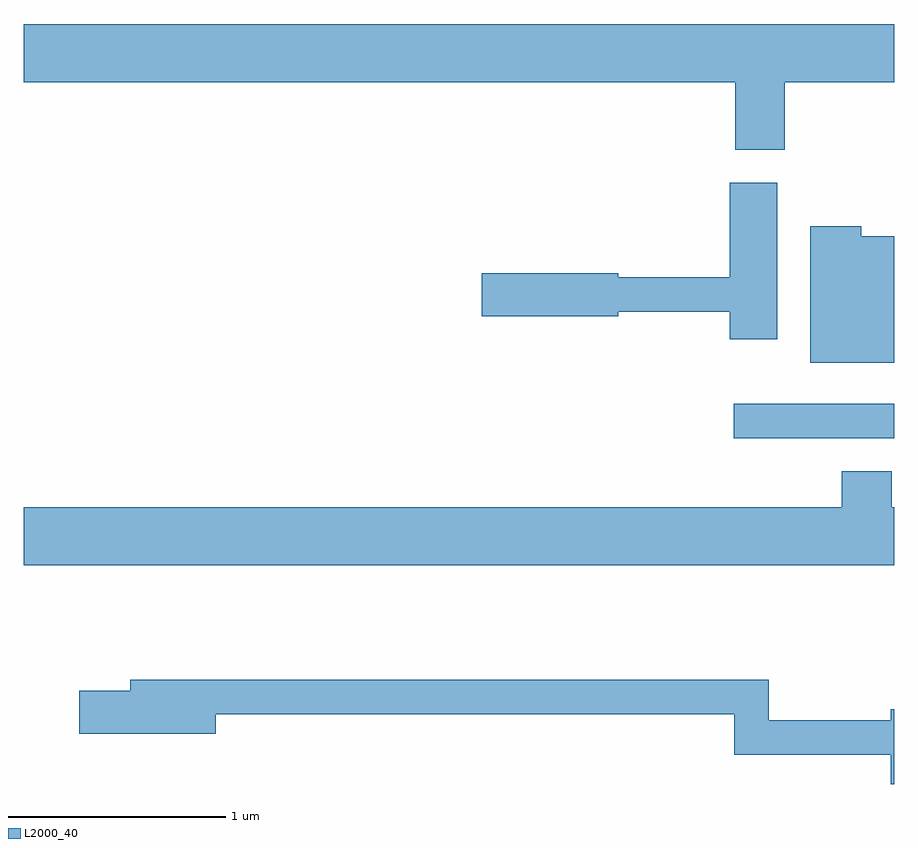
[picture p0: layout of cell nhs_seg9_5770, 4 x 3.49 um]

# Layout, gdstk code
import gdstk
lib = gdstk.Library(unit=1e-6, precision=1e-09)
def R(c, l, rs):  # rectangles x0, y0, x1, y1
    for r in rs: c.add(gdstk.rectangle(r[:2], r[2:], *l))
def P(c, l, *ps):  # polygons
    for p in ps: c.add(gdstk.Polygon(p, *l))
L2000_40 = (2000, 40)

nhs_seg9_5770 = lib.new_cell('nhs_seg9_5770')
R(nhs_seg9_5770, L2000_40, [(358.873,1992.401,359.611,1992.559)])
P(nhs_seg9_5770, L2000_40, [(359.109,1994.036),(359.611,1994.036),(359.611,1994.304),(355.611,1994.304),(355.611,1994.036),(358.881,1994.036),(358.881,1993.726),(359.109,1993.726)],
  [(359.074,1993.574),(358.856,1993.574),(358.856,1993.139),(358.344,1993.139),(358.344,1993.159),(357.716,1993.159),(357.716,1992.961),(358.344,1992.961),(358.344,1992.981),(358.856,1992.981),(358.856,1992.856),(359.074,1992.856)],
  [(359.611,1993.329),(359.459,1993.329),(359.459,1993.374),(359.226,1993.374),(359.226,1992.746),(359.611,1992.746)],
  [(359.611,1992.084),(359.599,1992.084),(359.599,1992.249),(359.371,1992.249),(359.371,1992.084),(355.611,1992.084),(355.611,1991.816),(359.611,1991.816)],
  [(359.611,1991.154),(359.596,1991.154),(359.596,1991.104),(359.034,1991.104),(359.034,1991.289),(356.101,1991.289),(356.101,1991.239),(355.866,1991.239),(355.866,1991.041),(356.494,1991.041),(356.494,1991.131),(358.876,1991.131),(358.876,1990.946),(359.596,1990.946),(359.596,1990.811),(359.611,1990.811)])

lib.write_gds('nhs_seg9_5770.gds')
